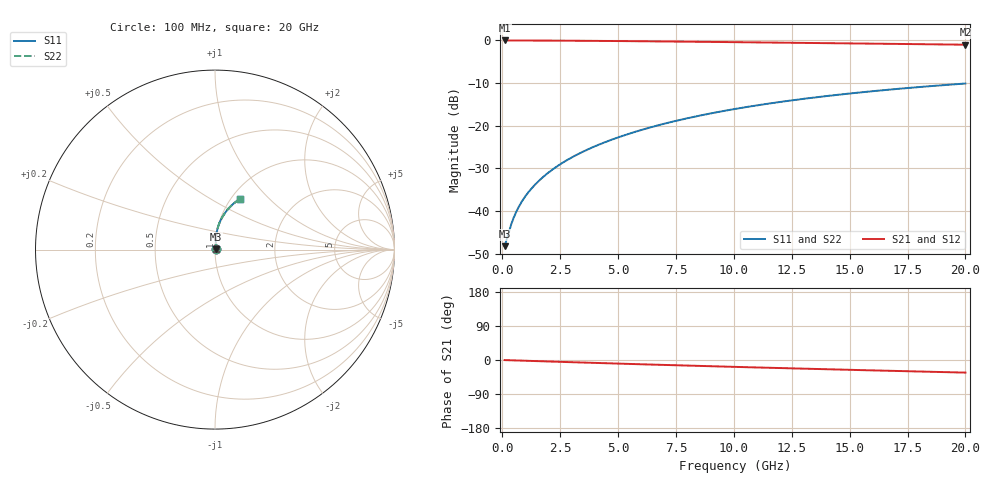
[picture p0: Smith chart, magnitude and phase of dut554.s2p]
! Touchstone file exported from HFSS 2024.1.0
!  File:  C:/UserFiles/LocalFiles/RDL_TSV_Batchsim/temp_RDL_bottom_554_1779689488.aedt
!  Generated:  02:14:15 PM May 25, 2026
!  Design:  RDL_bottom
!  Project:  temp_RDL_bottom_554_1779689488
!  Setup:  Setup1
!  Solution:  Sweep
! Variables:
!  dtsv = 10.80580581um
!  hbump = 3um
!  htsv = 81.05um
!  ldown = 449.97um
!  lrdl = 100um
!  p = 40
!  p1 = 49.44um
!  rhole = 1um
!  t = 450um
!  tdown = 2.07um
!  trdl = 3.915915916um
!  wdown = 24.15um
!  wrdl = 20um
# GHz S MA R 50.000000
! Terminal data exported
! Port[1] = RDL1_T1
! Port[2] = RDL1_T2
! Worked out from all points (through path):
!   200 points, 100 MHz to 20 GHz, reference 50 ohm
!   highest |S21| = -0.03 dB at 100 MHz (marker M1); lowest = -1.0 dB at 20 GHz (marker M2)
!   group delay of S21, straight-line fit = 4.58 ps
!   lowest |S11| = -48.2 dB at 100 MHz (marker M3), VSWR 1.01, Z = 50.4 + j0.158 ohm
!   |S11| at or under -10 dB: start of sweep to end of sweep
!   |S22| runs from -48.2 to -10.1 dB; largest |S21 - S12| = 3.5e-15
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0.1  0.003894 23.7  0.9964 -0.2  0.9964 -0.2  0.003894 23.7
! Gamma 0 0 0 0
! Port Impedance 50 0 50 0
0.3  0.005949 50.8  0.9962 -0.6  0.9962 -0.6  0.005949 50.8
0.4  0.007207 57.3  0.996 -0.8  0.996 -0.8  0.007207 57.3
0.6  0.009791 65.0  0.9956 -1.2  0.9956 -1.2  0.009791 65.0
0.7  0.01109 67.5  0.9954 -1.4  0.9954 -1.4  0.01109 67.5
0.9  0.01368 71.3  0.995 -1.8  0.995 -1.8  0.01368 71.3
1.2  0.0176 75.1  0.9944 -2.4  0.9944 -2.4  0.0176 75.1
1.4  0.02026 76.9  0.994 -2.8  0.994 -2.8  0.02026 76.9
1.7  0.02429 79.0  0.9934 -3.3  0.9934 -3.3  0.02429 79.0
2.2  0.03117 81.4  0.9921 -4.3  0.9921 -4.3  0.03117 81.4
2.8  0.03968 83.2  0.9902 -5.5  0.9902 -5.5  0.03968 83.1
3.5  0.04994 84.3  0.9876 -6.8  0.9876 -6.8  0.04993 84.3
4.2  0.06054 84.9  0.9846 -8.1  0.9846 -8.1  0.06053 84.9
5  0.07305 85.0  0.9808 -9.5  0.9808 -9.5  0.07302 85.0
5.9  0.08753 84.7  0.9761 -11.1  0.9761 -11.1  0.0875 84.7
6.8  0.1024 84.0  0.9711 -12.7  0.9711 -12.7  0.1023 84.0
8.4  0.1293 82.3  0.9618 -15.4  0.9618 -15.4  0.1292 82.2
10.1  0.1581 79.9  0.9516 -18.3  0.9516 -18.3  0.158 79.9
11.7  0.185 77.4  0.9417 -20.8  0.9417 -20.8  0.1849 77.4
13.4  0.2129 74.7  0.931 -23.5  0.931 -23.5  0.2128 74.6
16.7  0.2646 69.3  0.91 -28.5  0.91 -28.5  0.2644 69.2
20  0.3121 64.1  0.8887 -33.3  0.8887 -33.3  0.3118 64.0
